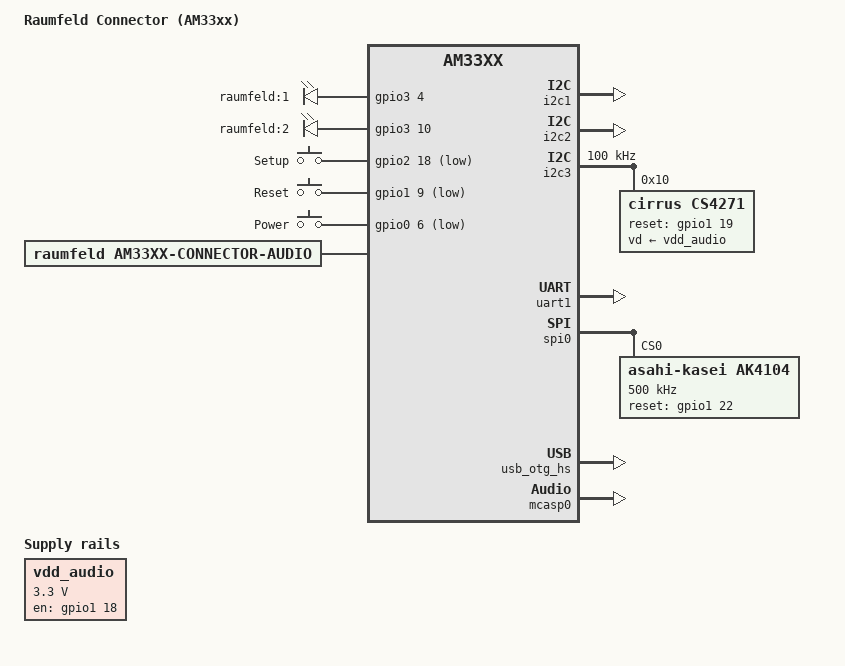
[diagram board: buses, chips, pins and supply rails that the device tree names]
/*
 * This program is free software; you can redistribute it and/or modify
 * it under the terms of the GNU General Public License version 2 as
 * published by the Free Software Foundation.
 */

/ {
	model = "Raumfeld Connector (AM33xx)";
	compatible = "ti,am335x-raumfeld-connector", "ti,am33xx";

	chosen {
		bootargs = "console=ttyO0,115200n8";
	};

	am3358_pinmux: pinmux@44e10800 {
		spi0_pins: pinmux_spi0_pins {
			pinctrl-single,pins = <
				0x150 0x28	/* SPI0_CLK */
				0x154 0x18	/* SPI0_D0  */
				0x158 0x38	/* SPI0_D1  */
				0x15C 0x18	/* SPI0_CS0 */

				0x58  0x07	/* AK4101 reset */
			>;
		};

		i2c3_pins: pinmux_i2c3_pins {
			pinctrl-single,pins = <
				0x178 0x23	/* I2C2_SDA */
				0x17c 0x23	/* I2C2_SCL */
			>;
		};

		led_pins: pinmux_led_pins {
			pinctrl-single,pins = <
				0x80 0x7	/* GPIO1_30 */
				0x84 0x7	/* GPIO1_31 */
			>;
		};

		audio_pins: pinmux_audio_pins {
			pinctrl-single,pins = <
				0x1ac 0x28	/* MCASP0_MCLK_OUT */
				0x190 0x08	/* MCASP0_BCLK_OUT */
				0x194 0x08	/* MCASP0_WCLK_OUT */
				0x198 0x08	/* MCASP0_DATA_OUT */
				0x1a8 0x28	/* MCASP0_DATA_IN  */
				0x078 0x26	/* MCASP0_BCLK_IN  */
				0x1a4 0x28	/* MCASP0_WCLK_IN  */
				0x19c 0x28	/* MCASP0_MCLK_IN  */
				0x1a0 0x27	/* MCASP0_BCLK_IN -> GPIO */
			>;
		};
	};

	ocp {
		i2c1: i2c@44e0b000 {
			status = "okay";
		};

		i2c2: i2c@4802a000 {
			status = "okay";
		};

		i2c3: i2c@4819c000 {
			status = "okay";
			pinctrl-names = "default";
			pinctrl-0 = <&i2c3_pins>;
			clock-frequency = <100000>;

			cs4271: cs4271@10 {
				compatible = "cirrus,cs4271";
				reg = <0x10>;
				reset-gpio = <&gpio1 19 0>;
				cirrus,amutec-eq-bmutec;
				cirrus,enable-soft-reset;
				vd-supply = <&vdd_audio>;
			};
		};
		
		uart1: serial@44e09000 {
			status = "okay";
		};

		spi0: spi@48030000 {
			status = "okay";
			ti,pindir-d0-out-d1-in;
			pinctrl-names = "default";
			pinctrl-0 = <&spi0_pins>;

			ak4104: ak4104@0 {
				compatible = "asahi-kasei,ak4104";
				reg = <0>; /* CS0 */
				spi-max-frequency = <500000>;
				reset-gpio = <&gpio1 22 0>;
			};
		};

		leds {
			compatible = "gpio-leds";
			pinctrl-names = "default";
			pinctrl-0 = <&led_pins>;

			d1 {
				label = "raumfeld:1";
				gpios = <&gpio3 4 0>;
			};

			d2 {
				label = "raumfeld:2";
				gpios = <&gpio3 10 0>;
				default-state = "on";
			};
		};

		gpio-keys {
			compatible = "gpio-keys";

                        setup {
                                label = "Setup";
                                gpios = <&gpio2 18 1>;
                                linux,code = <141>; /* KEY_SETUP */
                                gpio-key,wakeup;
                        };

                        reset {
                                label = "Reset";
                                gpios = <&gpio1 9 1>;
                                linux,code = <61>; /* KEY_F3 */
                                gpio-key,wakeup;
                        };

                        power {
                                label = "Power";
                                gpios = <&gpio0 6 1>;
                                linux,code = <116>; /* KEY_POWER */
                                gpio-key,wakeup;
                        };
		};
		
		usb_otg_hs: usb_otg_hs@47400000 {
			status = "okay";
		};
	};

	mcasp0: mcasp0@0x48038000 {
		compatible = "ti,omap2-mcasp-audio";
		#address-cells = <1>;
		#size-cells = <0>;
		reg = <0x48038000 0x3000>;
		interrupts = <80 81>;
		op-mode = <0>;          /* MCASP_IIS_MODE */
		tdm-slots = <2>;
		num-serializer = <16>;
		serial-dir = <  1 2 0 0 /* 0: INACTIVE, 1: TX, 2: RX */
				0 0 0 0
				0 0 0 0
				0 0 0 0 >;
		tx-num-evt = <1>;
		rx-num-evt = <1>;
		ti,hwmods = "mcasp0";
		asp-chan-q = <2>;  /* EVENTQ_2 */
		tx-dma-offset = <0x46000000>;
		rx-dma-offset = <0x46000000>;
		dmas = <&edma 8 &edma 9>;
		dma-names = "tx", "rx";
	};

	audio {
		compatible = "raumfeld,am33xx-connector-audio";
		pinctrl-names = "default";
		pinctrl-0 = <&audio_pins>;
		raumfeld,card-name = "Connector";

		raumfeld,platform = <&mcasp0>;
		raumfeld,cpu-dai-name = "48038000.mcasp0";

		raumfeld,analog-codec = <&cs4271>;
		raumfeld,analog-codec-dai-name = "cs4271-hifi";

		raumfeld,spdif-transmitter = <&ak4104>;
		raumfeld,spdif-transmitter-dai-name = "ak4104-hifi";
	};

        vdd_audio: vdd_audio_regulator {
		compatible = "regulator-fixed";
		regulator-name = "vdd-audio";
		regulator-min-microvolt = <3300000>;
		regulator-max-microvolt = <3300000>;
		gpio = <&gpio1 18 0>;
		enable-active-high;
		regulator-boot-on;
        };
};

&cpsw_emac0 {
	phy_id = "4a101000.mdio:04";
};

